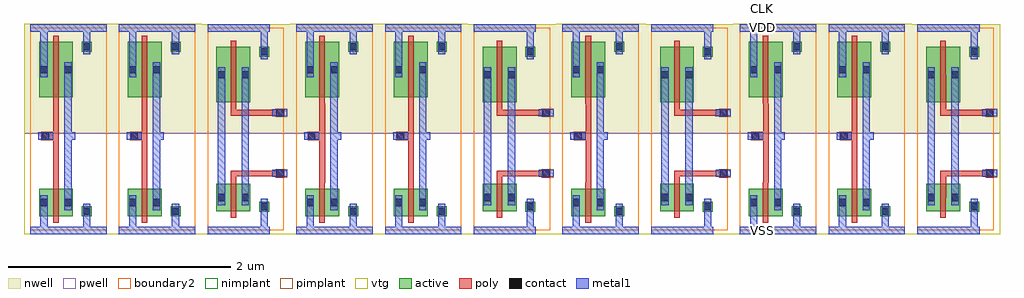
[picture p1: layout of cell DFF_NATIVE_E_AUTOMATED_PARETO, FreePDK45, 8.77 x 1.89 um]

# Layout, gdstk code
import gdstk
lib = gdstk.Library(unit=1e-6, precision=1e-09)
def R(c, l, rs):  # rectangles x0, y0, x1, y1
    for r in rs: c.add(gdstk.rectangle(r[:2], r[2:], *l))
active = (1, 0)
pwell = (2, 0)
nwell = (3, 0)
nimplant = (4, 0)
pimplant = (5, 0)
vtg = (6, 0)
poly = (9, 0)
contact = (10, 0)
metal1 = (11, 0)
boundary2 = (239, 0)

compose_child__pinv_nw25 = lib.new_cell('COMPOSE_CHILD__PINV_NW250_PW500_L50__PINV_NW250_PW500_L50__TRANSMISSION_GATE_NW250_PW500_L50_contact_8')
R(compose_child__pinv_nw25, active, [(0,0.022,0.09,0.112)])
R(compose_child__pinv_nw25, nwell, [(-0.055,-0.033,0.145,0.168)])
R(compose_child__pinv_nw25, pimplant, [(0,0.022,0.09,0.112)])
R(compose_child__pinv_nw25, contact, [(0.013,0.035,0.077,0.1)])
R(compose_child__pinv_nw25, metal1, [(0.013,0,0.077,0.135)])
R(compose_child__pinv_nw25, boundary2, [(-0.055,-0.033,0.145,0.168)])

c_compose_child__pinv_nw25 = lib.new_cell('COMPOSE_CHILD__PINV_NW250_PW500_L50__PINV_NW250_PW500_L50__PINV_NW250_PW500_L50_pmos_m1_w0_500_sm1_dm1_da_p')
R(c_compose_child__pinv_nw25, active, [(0,0,0.305,0.5)])
R(c_compose_child__pinv_nw25, nwell, [(-0.08,-0.08,0.385,0.58)])
R(c_compose_child__pinv_nw25, pimplant, [(0,0,0.305,0.5)])
R(c_compose_child__pinv_nw25, vtg, [(-0.08,-0.08,0.385,0.58)])
R(c_compose_child__pinv_nw25, poly, [(0.127,-0.055,0.177,0.555), (0.127,-0.055,0.177,0.555)])
R(c_compose_child__pinv_nw25, metal1, [(0.013,0.182,0.077,0.317), (0.227,0.182,0.292,0.317)])
R(c_compose_child__pinv_nw25, boundary2, [(-0.08,-0.08,0.385,0.58)])
c_compose_child__pinv_nw25.add(gdstk.Reference(compose_child__pinv_nw25, (0,0.182)))
c_compose_child__pinv_nw25.add(gdstk.Reference(compose_child__pinv_nw25, (0.215,0.182)))

c_compose_child__pinv_nw25_ = lib.new_cell('COMPOSE_CHILD__PINV_NW250_PW500_L50__PINV_NW250_PW500_L50__TRANSMISSION_GATE_NW250_PW500_L50_contact_7')
R(c_compose_child__pinv_nw25_, active, [(0,0.022,0.09,0.112)])
R(c_compose_child__pinv_nw25_, pwell, [(-0.055,-0.033,0.145,0.168)])
R(c_compose_child__pinv_nw25_, nimplant, [(0,0.022,0.09,0.112)])
R(c_compose_child__pinv_nw25_, contact, [(0.013,0.035,0.077,0.1)])
R(c_compose_child__pinv_nw25_, metal1, [(0.013,0,0.077,0.135)])
R(c_compose_child__pinv_nw25_, boundary2, [(-0.055,-0.033,0.145,0.168)])

c_compose_child__pinv_nw25__ = lib.new_cell('COMPOSE_CHILD__PINV_NW250_PW500_L50__PINV_NW250_PW500_L50__PINV_NW250_PW500_L50_nmos_m1_w0_250_sm1_dm1_da_p')
R(c_compose_child__pinv_nw25__, active, [(0,0,0.305,0.25)])
R(c_compose_child__pinv_nw25__, pwell, [(-0.08,-0.08,0.385,0.33)])
R(c_compose_child__pinv_nw25__, nimplant, [(0,0,0.305,0.25)])
R(c_compose_child__pinv_nw25__, vtg, [(-0.08,-0.08,0.385,0.33)])
R(c_compose_child__pinv_nw25__, poly, [(0.127,-0.055,0.177,0.305), (0.127,-0.055,0.177,0.305)])
R(c_compose_child__pinv_nw25__, metal1, [(0.013,0.057,0.077,0.192), (0.227,0.057,0.292,0.192)])
R(c_compose_child__pinv_nw25__, boundary2, [(-0.08,-0.08,0.385,0.33)])
c_compose_child__pinv_nw25__.add(gdstk.Reference(c_compose_child__pinv_nw25_, (0,0.057)))
c_compose_child__pinv_nw25__.add(gdstk.Reference(c_compose_child__pinv_nw25_, (0.215,0.057)))

c_compose_child__pinv_nw25___ = lib.new_cell('COMPOSE_CHILD__PINV_NW250_PW500_L50__PINV_NW250_PW500_L50__TRANSMISSION_GATE_NW250_PW500_L50_contact_9')
R(c_compose_child__pinv_nw25___, active, [(0,0.022,0.09,0.112)])
R(c_compose_child__pinv_nw25___, nwell, [(-0.055,-0.033,0.145,0.168)])
R(c_compose_child__pinv_nw25___, nimplant, [(0,0.022,0.09,0.112)])
R(c_compose_child__pinv_nw25___, contact, [(0.013,0.035,0.077,0.1)])
R(c_compose_child__pinv_nw25___, metal1, [(0.013,0,0.077,0.135)])
R(c_compose_child__pinv_nw25___, boundary2, [(-0.055,-0.033,0.145,0.168)])

c_compose_child__pinv_nw25____ = lib.new_cell('COMPOSE_CHILD__PINV_NW250_PW500_L50__PINV_NW250_PW500_L50__TRANSMISSION_GATE_NW250_PW500_L50_contact_10')
R(c_compose_child__pinv_nw25____, active, [(0,0.022,0.09,0.112)])
R(c_compose_child__pinv_nw25____, pwell, [(-0.055,-0.033,0.145,0.168)])
R(c_compose_child__pinv_nw25____, pimplant, [(0,0.022,0.09,0.112)])
R(c_compose_child__pinv_nw25____, contact, [(0.013,0.035,0.077,0.1)])
R(c_compose_child__pinv_nw25____, metal1, [(0.013,0,0.077,0.135)])
R(c_compose_child__pinv_nw25____, boundary2, [(-0.055,-0.033,0.145,0.168)])

c_compose_child__pinv_nw25_____ = lib.new_cell('COMPOSE_CHILD__PINV_NW250_PW500_L50__PINV_NW250_PW500_L50__PINV_NW180_PW270_L50_contact_11')
R(c_compose_child__pinv_nw25_____, poly, [(0.03,0,0.105,0.075)])
R(c_compose_child__pinv_nw25_____, contact, [(0.035,0.005,0.1,0.07)])
R(c_compose_child__pinv_nw25_____, metal1, [(0,0.005,0.135,0.07)])
R(c_compose_child__pinv_nw25_____, boundary2, [(0,0,0.135,0.075)])

c_compose_child__pinv_nw25______ = lib.new_cell('COMPOSE_CHILD__PINV_NW250_PW500_L50__PINV_NW250_PW500_L50__PINV_NW250_PW500_L50_core')
R(c_compose_child__pinv_nw25______, pwell, [(-0.055,-0.033,0.743,0.873)])
R(c_compose_child__pinv_nw25______, nwell, [(-0.055,0.873,0.743,1.855)])
R(c_compose_child__pinv_nw25______, vtg, [(-0.055,-0.033,0.743,0.873), (-0.055,0.873,0.743,1.855)])
R(c_compose_child__pinv_nw25______, poly, [(0.208,0.43,0.258,1.14), (0.14,0.81,0.208,0.885)])
R(c_compose_child__pinv_nw25______, metal1, [(0,-0.033,0.687,0.033), (0.092,-0.033,0.157,0.182), (0.478,0,0.542,0.17), (0.307,0.182,0.372,1.512), (0.072,0.815,0.208,0.88), (0.34,0.815,0.405,0.88), (0.092,1.377,0.157,1.852), (0.478,1.65,0.542,1.82), (0,1.787,0.687,1.852)])
R(c_compose_child__pinv_nw25______, boundary2, [(0,0,0.687,1.82), (0,0,0.687,1.82)])
c_compose_child__pinv_nw25______.add(gdstk.Reference(c_compose_child__pinv_nw25, (0.08,1.195)))
c_compose_child__pinv_nw25______.add(gdstk.Reference(c_compose_child__pinv_nw25__, (0.08,0.125)))
c_compose_child__pinv_nw25______.add(gdstk.Reference(c_compose_child__pinv_nw25___, (0.465,1.582)))
c_compose_child__pinv_nw25______.add(gdstk.Reference(c_compose_child__pinv_nw25____, (0.465,0.103)))
c_compose_child__pinv_nw25______.add(gdstk.Reference(c_compose_child__pinv_nw25_____, (0.072,0.81)))

c_compose_child__pinv_nw25_______ = lib.new_cell('COMPOSE_CHILD__PINV_NW250_PW500_L50__PINV_NW250_PW500_L50__PINV_NW250_PW500_L50')
R(c_compose_child__pinv_nw25_______, metal1, [(0,-0.033,0.687,0.033), (0.072,0.815,0.208,0.88), (0.34,0.815,0.405,0.88), (0,1.787,0.687,1.852)])
R(c_compose_child__pinv_nw25_______, boundary2, [(0,0,0.687,1.82)])
c_compose_child__pinv_nw25_______.add(gdstk.Reference(c_compose_child__pinv_nw25______, (0,0)))

compose_child__transmiss = lib.new_cell('COMPOSE_CHILD__TRANSMISSION_GATE_NW250_PW500_L50__TRANSMISSION_GATE_NW250_PW500_L50__TRANSMISSION_GATE_NW250_PW500_L50_contact_8')
R(compose_child__transmiss, active, [(0,0.022,0.09,0.112)])
R(compose_child__transmiss, nwell, [(-0.055,-0.033,0.145,0.168)])
R(compose_child__transmiss, pimplant, [(0,0.022,0.09,0.112)])
R(compose_child__transmiss, contact, [(0.013,0.035,0.077,0.1)])
R(compose_child__transmiss, metal1, [(0.013,0,0.077,0.135)])
R(compose_child__transmiss, boundary2, [(-0.055,-0.033,0.145,0.168)])

c_compose_child__transmiss = lib.new_cell('COMPOSE_CHILD__TRANSMISSION_GATE_NW250_PW500_L50__TRANSMISSION_GATE_NW250_PW500_L50__TRANSMISSION_GATE_NW250_PW500_L50_pmos_m1_w0_500_sm1_dm1')
R(c_compose_child__transmiss, active, [(0,0,0.305,0.5)])
R(c_compose_child__transmiss, nwell, [(-0.08,-0.08,0.385,0.58)])
R(c_compose_child__transmiss, pimplant, [(0,0,0.305,0.5)])
R(c_compose_child__transmiss, vtg, [(-0.08,-0.08,0.385,0.58)])
R(c_compose_child__transmiss, poly, [(0.127,-0.055,0.177,0.555), (0.127,-0.055,0.177,0.555)])
R(c_compose_child__transmiss, metal1, [(0.013,0.182,0.077,0.317), (0.227,0.182,0.292,0.317)])
R(c_compose_child__transmiss, boundary2, [(-0.08,-0.08,0.385,0.58)])
c_compose_child__transmiss.add(gdstk.Reference(compose_child__transmiss, (0,0.182)))
c_compose_child__transmiss.add(gdstk.Reference(compose_child__transmiss, (0.215,0.182)))

c_compose_child__transmiss_ = lib.new_cell('COMPOSE_CHILD__TRANSMISSION_GATE_NW250_PW500_L50__TRANSMISSION_GATE_NW250_PW500_L50__TRANSMISSION_GATE_NW250_PW500_L50_contact_7')
R(c_compose_child__transmiss_, active, [(0,0.022,0.09,0.112)])
R(c_compose_child__transmiss_, pwell, [(-0.055,-0.033,0.145,0.168)])
R(c_compose_child__transmiss_, nimplant, [(0,0.022,0.09,0.112)])
R(c_compose_child__transmiss_, contact, [(0.013,0.035,0.077,0.1)])
R(c_compose_child__transmiss_, metal1, [(0.013,0,0.077,0.135)])
R(c_compose_child__transmiss_, boundary2, [(-0.055,-0.033,0.145,0.168)])

c_compose_child__transmiss__ = lib.new_cell('COMPOSE_CHILD__TRANSMISSION_GATE_NW250_PW500_L50__TRANSMISSION_GATE_NW250_PW500_L50__TRANSMISSION_GATE_NW250_PW500_L50_nmos_m1_w0_250_sm1_dm1')
R(c_compose_child__transmiss__, active, [(0,0,0.305,0.25)])
R(c_compose_child__transmiss__, pwell, [(-0.08,-0.08,0.385,0.33)])
R(c_compose_child__transmiss__, nimplant, [(0,0,0.305,0.25)])
R(c_compose_child__transmiss__, vtg, [(-0.08,-0.08,0.385,0.33)])
R(c_compose_child__transmiss__, poly, [(0.127,-0.055,0.177,0.305), (0.127,-0.055,0.177,0.305)])
R(c_compose_child__transmiss__, metal1, [(0.013,0.057,0.077,0.192), (0.227,0.057,0.292,0.192)])
R(c_compose_child__transmiss__, boundary2, [(-0.08,-0.08,0.385,0.33)])
c_compose_child__transmiss__.add(gdstk.Reference(c_compose_child__transmiss_, (0,0.057)))
c_compose_child__transmiss__.add(gdstk.Reference(c_compose_child__transmiss_, (0.215,0.057)))

c_compose_child__transmiss___ = lib.new_cell('COMPOSE_CHILD__TRANSMISSION_GATE_NW250_PW500_L50__TRANSMISSION_GATE_NW250_PW500_L50__TRANSMISSION_GATE_NW250_PW500_L50_contact_9')
R(c_compose_child__transmiss___, active, [(0,0.022,0.09,0.112)])
R(c_compose_child__transmiss___, nwell, [(-0.055,-0.033,0.145,0.168)])
R(c_compose_child__transmiss___, nimplant, [(0,0.022,0.09,0.112)])
R(c_compose_child__transmiss___, contact, [(0.013,0.035,0.077,0.1)])
R(c_compose_child__transmiss___, metal1, [(0.013,0,0.077,0.135)])
R(c_compose_child__transmiss___, boundary2, [(-0.055,-0.033,0.145,0.168)])

c_compose_child__transmiss____ = lib.new_cell('COMPOSE_CHILD__TRANSMISSION_GATE_NW250_PW500_L50__TRANSMISSION_GATE_NW250_PW500_L50__TRANSMISSION_GATE_NW250_PW500_L50_contact_10')
R(c_compose_child__transmiss____, active, [(0,0.022,0.09,0.112)])
R(c_compose_child__transmiss____, pwell, [(-0.055,-0.033,0.145,0.168)])
R(c_compose_child__transmiss____, pimplant, [(0,0.022,0.09,0.112)])
R(c_compose_child__transmiss____, contact, [(0.013,0.035,0.077,0.1)])
R(c_compose_child__transmiss____, metal1, [(0.013,0,0.077,0.135)])
R(c_compose_child__transmiss____, boundary2, [(-0.055,-0.033,0.145,0.168)])

c_compose_child__transmiss_____ = lib.new_cell('COMPOSE_CHILD__TRANSMISSION_GATE_NW250_PW500_L50__TRANSMISSION_GATE_NW250_PW500_L50__TRANSMISSION_GATE_NW250_PW500_L50_contact_11')
R(c_compose_child__transmiss_____, poly, [(0.03,0,0.105,0.075)])
R(c_compose_child__transmiss_____, contact, [(0.035,0.005,0.1,0.07)])
R(c_compose_child__transmiss_____, metal1, [(0,0.005,0.135,0.07)])
R(c_compose_child__transmiss_____, boundary2, [(0,0,0.135,0.075)])

c_compose_child__transmiss______ = lib.new_cell('COMPOSE_CHILD__TRANSMISSION_GATE_NW250_PW500_L50__TRANSMISSION_GATE_NW250_PW500_L50__TRANSMISSION_GATE_NW250_PW500_L50_core')
R(c_compose_child__transmiss______, pwell, [(-0.055,-0.033,0.743,0.873)])
R(c_compose_child__transmiss______, nwell, [(-0.055,0.873,0.743,1.852)])
R(c_compose_child__transmiss______, vtg, [(-0.055,-0.033,0.743,0.873), (-0.055,0.873,0.743,1.852)])
R(c_compose_child__transmiss______, poly, [(0.208,0.295,0.258,0.512), (0.208,0.487,0.258,0.537), (0.232,0.487,0.65,0.537), (0.208,1.032,0.258,1.083), (0.232,1.032,0.65,1.083), (0.208,1.058,0.258,1.4)])
R(c_compose_child__transmiss______, metal1, [(0,-0.033,0.56,0.033), (0.478,0,0.542,0.215), (0.092,0.227,0.157,1.467), (0.307,0.227,0.372,1.467), (0.583,0.48,0.718,0.545), (0.583,1.025,0.718,1.09), (0.478,1.605,0.542,1.82), (0,1.787,0.56,1.852)])
R(c_compose_child__transmiss______, boundary2, [(0,0,0.687,1.82), (0,0,0.687,1.82)])
c_compose_child__transmiss______.add(gdstk.Reference(c_compose_child__transmiss, (0.08,1.15)))
c_compose_child__transmiss______.add(gdstk.Reference(c_compose_child__transmiss__, (0.08,0.17)))
c_compose_child__transmiss______.add(gdstk.Reference(c_compose_child__transmiss___, (0.465,1.538)))
c_compose_child__transmiss______.add(gdstk.Reference(c_compose_child__transmiss____, (0.465,0.147)))
c_compose_child__transmiss______.add(gdstk.Reference(c_compose_child__transmiss_____, (0.583,1.02)))
c_compose_child__transmiss______.add(gdstk.Reference(c_compose_child__transmiss_____, (0.583,0.475)))

c_compose_child__transmiss_______ = lib.new_cell('COMPOSE_CHILD__TRANSMISSION_GATE_NW250_PW500_L50__TRANSMISSION_GATE_NW250_PW500_L50__TRANSMISSION_GATE_NW250_PW500_L50')
R(c_compose_child__transmiss_______, metal1, [(0,-0.033,0.56,0.033), (0.092,0.227,0.157,1.467), (0.307,0.227,0.372,1.467), (0.583,0.48,0.718,0.545), (0.583,1.025,0.718,1.09), (0,1.787,0.56,1.852)])
R(c_compose_child__transmiss_______, boundary2, [(0,0,0.687,1.82)])
c_compose_child__transmiss_______.add(gdstk.Reference(c_compose_child__transmiss______, (0,0)))

dff_native_e_automated_p = lib.new_cell('DFF_NATIVE_E_AUTOMATED_PARETO')
dff_native_e_automated_p.add(gdstk.Reference(c_compose_child__pinv_nw25_______, (0.055,0.033)))
dff_native_e_automated_p.add(gdstk.Reference(c_compose_child__pinv_nw25_______, (0.852,0.033)))
dff_native_e_automated_p.add(gdstk.Reference(c_compose_child__transmiss_______, (1.65,0.033)))
dff_native_e_automated_p.add(gdstk.Reference(c_compose_child__pinv_nw25_______, (2.448,0.033)))
dff_native_e_automated_p.add(gdstk.Reference(c_compose_child__pinv_nw25_______, (3.245,0.033)))
dff_native_e_automated_p.add(gdstk.Reference(c_compose_child__transmiss_______, (4.042,0.033)))
dff_native_e_automated_p.add(gdstk.Reference(c_compose_child__pinv_nw25_______, (4.84,0.033)))
dff_native_e_automated_p.add(gdstk.Reference(c_compose_child__transmiss_______, (5.637,0.033)))
dff_native_e_automated_p.add(gdstk.Reference(c_compose_child__pinv_nw25_______, (6.435,0.033)))
dff_native_e_automated_p.add(gdstk.Reference(c_compose_child__pinv_nw25_______, (7.232,0.033)))
dff_native_e_automated_p.add(gdstk.Reference(c_compose_child__transmiss_______, (8.03,0.033)))
dff_native_e_automated_p.add(gdstk.Label('CLK', (6.635,2.085), layer=11, texttype=0))
dff_native_e_automated_p.add(gdstk.Label('D', (0.25,2.505), layer=11, texttype=0))
dff_native_e_automated_p.add(gdstk.Label('Q', (13.023,3.975), layer=11, texttype=0))
dff_native_e_automated_p.add(gdstk.Label('VDD', (6.636,1.852), layer=11, texttype=0))
dff_native_e_automated_p.add(gdstk.Label('VSS', (6.636,0.033), layer=11, texttype=0))

lib.write_gds('DFF_NATIVE_E_AUTOMATED_PARETO.gds')
